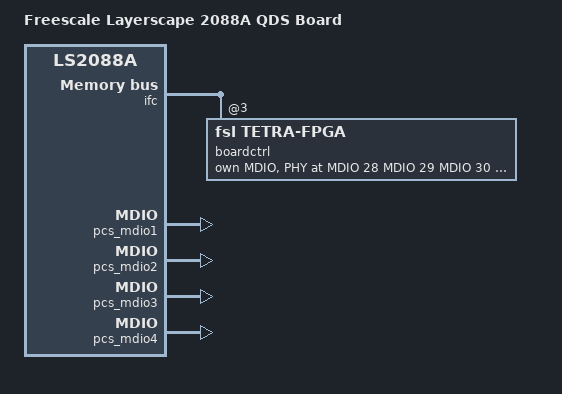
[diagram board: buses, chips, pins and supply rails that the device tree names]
// SPDX-License-Identifier: (GPL-2.0+ OR MIT)
/*
 * Device Tree file for Freescale LS2088A QDS Board.
 *
 * Copyright 2016 Freescale Semiconductor, Inc.
 * Copyright 2017, 2019 NXP
 *
 * Abhimanyu Saini <abhimanyu.saini@nxp.com>
 *
 */

/dts-v1/;

#include "fsl-ls2088a.dtsi"
#include "fsl-ls208xa-qds.dtsi"

/ {
	model = "Freescale Layerscape 2088A QDS Board";
	compatible = "fsl,ls2088a-qds", "fsl,ls2088a";

	chosen {
		stdout-path = "serial0:115200n8";
	};
};

&ifc {
	boardctrl: board-control@3,0 {
		#address-cells = <1>;
		#size-cells = <1>;
		compatible = "fsl,tetra-fpga", "fsl,fpga-qixis", "simple-bus";
		reg = <3 0 0x300>;		/* TODO check address */
		ranges = <0 3 0 0x300>;

		mdio_mux_emi1 {
			compatible = "mdio-mux-mmioreg", "mdio-mux";
			mdio-parent-bus = <&emdio1>;
			reg = <0x54 1>;		/* BRDCFG4 */
			mux-mask = <0xe0>;	/* EMI1_MDIO */

			#address-cells=<1>;
			#size-cells = <0>;

			/* Child MDIO buses, one for each riser card:
			 * reg = 0x0, 0x20, 0x40, 0x60, 0x80, 0xa0.
			 * VSC8234 PHYs on the riser cards.
			 */

			mdio_mux3: mdio@60 {
				reg = <0x60>;
				#address-cells = <1>;
				#size-cells = <0>;

				mdio0_phy12: mdio_phy0@1c {
					reg = <0x1c>;
					phy-connection-type = "sgmii";
				};
				mdio0_phy13: mdio_phy1@1d {
					reg = <0x1d>;
					phy-connection-type = "sgmii";
				};
				mdio0_phy14: mdio_phy2@1e {
					reg = <0x1e>;
					phy-connection-type = "sgmii";
				};
				mdio0_phy15: mdio_phy3@1f {
					reg = <0x1f>;
					phy-connection-type = "sgmii";
				};
			};
		};
	};
};

&pcs_mdio1 {
	status = "okay";
};

&pcs_mdio2 {
	status = "okay";
};

&pcs_mdio3 {
	status = "okay";
};

&pcs_mdio4 {
	status = "okay";
};

&pcs1 {
	backplane-mode = "10gbase-kr";
	compatible = "ethernet-phy-ieee802.3-c45";
	reg = <0x0>;
	fsl,lane-handle = <&serdes1>;
	fsl,lane-reg = <0x9C0 0x40>; /* lane H */
};

&pcs2 {
	backplane-mode = "10gbase-kr";
	compatible = "ethernet-phy-ieee802.3-c45";
	reg = <0x0>;
	fsl,lane-handle = <&serdes1>;
	fsl,lane-reg = <0x980 0x40>; /* lane G */
};

&pcs3 {
	backplane-mode = "10gbase-kr";
	compatible = "ethernet-phy-ieee802.3-c45";
	reg = <0x0>;
	fsl,lane-handle = <&serdes1>;
	fsl,lane-reg = <0x940 0x40>; /* lane F */
};

&pcs4 {
	backplane-mode = "10gbase-kr";
	compatible = "ethernet-phy-ieee802.3-c45";
	reg = <0x0>;
	fsl,lane-handle = <&serdes1>;
	fsl,lane-reg = <0x900 0x40>; /* lane E */
};

/* DPMAC connections to backplane PHYs, under SerDes 0x2a_0xXX
 * &dpmac1 {
 * 	phy-handle = <&pcs1>;
 * 	phy-connection-type = "10gbase-kr";
 * };
 * 
 * &dpmac2 {
 * 	phy-handle = <&pcs2>;
 * 	phy-connection-type = "10gbase-kr";
 * };
 * 
 * &dpmac3 {
 * 	phy-handle = <&pcs3>;
 * 	phy-connection-type = "10gbase-kr";
 * };
 * 
 * &dpmac4 {
 * 	phy-handle = <&pcs4>;
 * 	phy-connection-type = "10gbase-kr";
 * };
 */

/* Update DPMAC connections to external PHYs, under SerDes 0x2a_0x49. */
&dpmac9 {
	phy-handle = <&mdio0_phy12>;
};
&dpmac10 {
	phy-handle = <&mdio0_phy13>;
};
&dpmac11 {
	phy-handle = <&mdio0_phy14>;
};
&dpmac12 {
	phy-handle = <&mdio0_phy15>;
};
